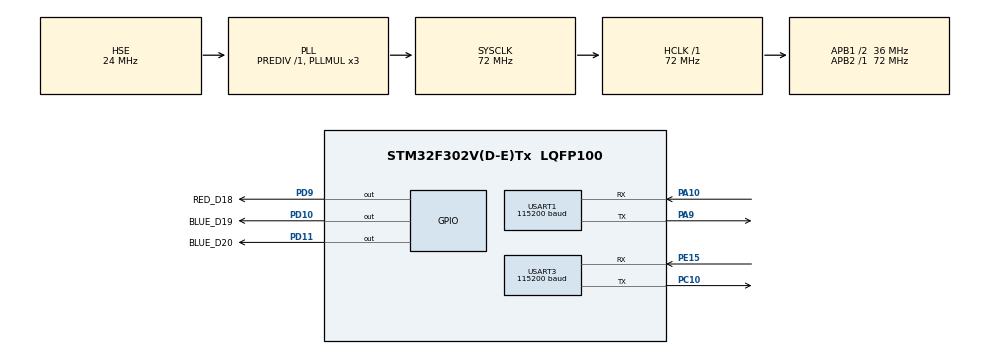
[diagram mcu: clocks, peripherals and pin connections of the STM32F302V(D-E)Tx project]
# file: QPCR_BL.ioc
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Mcu.Family=STM32F3
Mcu.Name=STM32F302V(D-E)Tx
Mcu.Package=LQFP100
NVIC.PriorityGroup=NVIC_PRIORITYGROUP_4
PA10.GPIO_PuPd=GPIO_PULLUP
PA10.Mode=Asynchronous
PA10.Signal=USART1_RX
PA13.Mode=JTAG_5_pins
PA13.Signal=SYS_JTMS-SWDIO
PA14.Mode=JTAG_5_pins
PA14.Signal=SYS_JTCK-SWCLK
PA15.Mode=JTAG_5_pins
PA15.Signal=SYS_JTDI
PA9.GPIO_PuPd=GPIO_PULLUP
PA9.Mode=Asynchronous
PA9.Signal=USART1_TX
PB3.Mode=JTAG_5_pins
PB3.Signal=SYS_JTDO-TRACESWO
PB4.Mode=JTAG_5_pins
PB4.Signal=SYS_NJTRST
PC10.Mode=Asynchronous
PC10.Signal=USART3_TX
PD10.GPIO_Label=BLUE_D19
PD10.GPIO_PuPd=GPIO_PULLUP
PD10.PinState=GPIO_PIN_SET
PD10.Signal=GPIO_Output
PD11.GPIO_Label=BLUE_D20
PD11.GPIO_PuPd=GPIO_PULLUP
PD11.PinState=GPIO_PIN_SET
PD11.Signal=GPIO_Output
PD9.GPIO_Label=RED_D18
PD9.GPIO_PuPd=GPIO_PULLUP
PD9.PinState=GPIO_PIN_SET
PD9.Signal=GPIO_Output
PE15.Mode=Asynchronous
PE15.Signal=USART3_RX
PF0-OSC_IN.Mode=HSE-External-Oscillator
PF0-OSC_IN.Signal=RCC_OSC_IN
PF1-OSC_OUT.Mode=HSE-External-Oscillator
PF1-OSC_OUT.Signal=RCC_OSC_OUT
ProjectManager.HeapSize=0x200
ProjectManager.StackSize=0x400
ProjectManager.TargetToolchain=MDK-ARM V5.32
RCC.AHBFreq_Value=72000000
RCC.APB1CLKDivider=RCC_HCLK_DIV2
RCC.APB1Freq_Value=36000000
RCC.APB1TimFreq_Value=72000000
RCC.APB2Freq_Value=72000000
RCC.APB2TimFreq_Value=72000000
RCC.CortexFreq_Value=72000000
RCC.HCLKFreq_Value=72000000
RCC.HSE_VALUE=24000000
RCC.HSI_VALUE=8000000
RCC.LSE_VALUE=32768
RCC.PLLMUL=RCC_PLL_MUL3
RCC.PLLSourceVirtual=RCC_PLLSOURCE_HSE
RCC.SYSCLKFreq_VALUE=72000000
RCC.SYSCLKSourceVirtual=RCC_SYSCLKSOURCE_PLLCLK
RCC.USBFreq_Value=72000000
USART1.BaudRate=115200
USART1.Parity=PARITY_NONE
USART1.VirtualMode-Asynchronous=VM_ASYNC
USART3.BaudRate=115200
USART3.Mode=MODE_TX
USART3.VirtualMode-Asynchronous=VM_ASYNC
board=custom

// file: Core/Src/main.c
/* USER CODE BEGIN Header */
/**
  ******************************************************************************
  * @file           : main.c
  * @brief          : Main program body
  ******************************************************************************
  * @attention
  *
  * Copyright (c) 2022 STMicroelectronics.
  * All rights reserved.
  *
  * This software is licensed under terms that can be found in the LICENSE file
  * in the root directory of this software component.
  * If no LICENSE file comes with this software, it is provided AS-IS.
  *
  ******************************************************************************
  */
/* USER CODE END Header */
#include "main.h"
#include "usart.h"
#include "gpio.h"

/* USER CODE BEGIN Includes */
#include <stdio.h>

#include "menu.h"
/* USER CODE END Includes */

/* USER CODE BEGIN PV */
UpgradeDef UpgradeInfo;

#if LOG_BY_USART3 == 1
uint8_t logBuf[LOG_BUF_LEN] = {0};
#endif
/* USER CODE END PV */

void SystemClock_Config(void);

int main(void)
{

  /* MCU Configuration--------------------------------------------------------*/

  /* Reset of all peripherals, Initializes the Flash interface and the Systick. */
  HAL_Init();

  /* Configure the system clock */
  SystemClock_Config();

  /* Initialize all configured peripherals */
  MX_GPIO_Init();
  MX_USART1_UART_Init();
  /* USER CODE BEGIN 2 */
#if LOG_BY_USART3 == 1
  MX_USART3_UART_Init();
  LOG("QPCR STM32F302VET6 Bootloader start...\r\n");
#elif LOG_BY_RTT == 1
  SEGGER_RTT_Init();
  LOG("QPCR STM32F302VET6 Bootloader start...\r\n");
#endif

  FLASH_If_Read((uint8_t*)APPJUMPTOIAPFLAG_ADDRESS,(uint8_t*)&UpgradeInfo,sizeof(UpgradeInfo));
  LOG("UpgradeInfo: [%s:0x%x:0x%x:0x%x:0x%x]\r\n", UpgradeInfo.FileName, UpgradeInfo.FileSize, UpgradeInfo.FileVersion, UpgradeInfo.UpdateFlag, UpgradeInfo.UpdateType);

  switch(UpgradeInfo.UpdateType)
  {
	  case MANUAL_UPGRADE:
	  {
          LOG("Upgrade Type: MANUAL_UPGRADE\r\n");
		  FLASH_If_Erase(APPJUMPTOIAPFLAG_ADDRESS,1);
		  /* Execute the IAP driver in order to reprogram the Flash */

		  /* Display main menu */
		  Main_Menu ();
	  }break;
	  case UART_AUTO_UPGRADE:
	  {
          LOG("Upgrade Type: UART_AUTO_UPGRADE\r\n");
		  FLASH_If_Erase(APPJUMPTOIAPFLAG_ADDRESS,1);
		  SerialDownload();
	  }break;
	  case USB_AUTO_UPGRADE:
	  {
          LOG("Upgrade Type: USB_AUTO_UPGRADE\r\n");
		  FLASH_If_Erase(APPJUMPTOIAPFLAG_ADDRESS,1);
	  }break;
	  case ETH_AUTO_UPGRADE:
	  {
          LOG("Upgrade Type: ETH_AUTO_UPGRADE\r\n");
		  FLASH_If_Erase(APPJUMPTOIAPFLAG_ADDRESS,1);
	  }break;
	  case NO_UPGRADE:
	  {
          LOG("Upgrade Type: NO_UPGRADE\r\n");
		  /* Test if user code is programmed starting from address "UPGRAGE_APPLICATION_ADDRESS" */
		  if (((*(__IO uint32_t*)APPLICATION_ADDRESS) & 0x2FFE0000 ) == 0x20000000)
		  {
            LOG("Jump to APP, addr[0x%08x]\r\n", *(__IO uint32_t*)APPLICATION_ADDRESS);
			/* execute the new program */
			JumpAddress = *(__IO uint32_t*) (APPLICATION_ADDRESS + 4);
			/* Jump to user application */
			JumpToApplication = (pFunction) JumpAddress;
			/* Initialize user application's Stack Pointer */
			__set_MSP(*(__IO uint32_t*) APPLICATION_ADDRESS);
			JumpToApplication();
		  }
		  else
		  {
			/* Execute the IAP driver in order to reprogram the Flash */
			LOG("Jump to APP failed. addr[0x%08x]\r\n", *(__IO uint32_t*)APPLICATION_ADDRESS);
			/* Display main menu */
			//Main_Menu ();
		  }
	  }break;
	  default:
	  {
        LOG("Default case...\r\n");
		/* Execute the IAP driver in order to reprogram the Flash */
		//IAP_Init();
		/* Display main menu */
		Main_Menu ();
	  }
  }

  /* USER CODE END 2 */

  /* Infinite loop */
  /* USER CODE BEGIN WHILE */
  while (1)
  {
    HAL_Delay(1000);
    HAL_GPIO_TogglePin(RED_D18_GPIO_Port, RED_D18_Pin);
    //LOG("LED blink...\r\n");
    /* USER CODE END WHILE */
  }
}

void SystemClock_Config(void)
{
  RCC_OscInitTypeDef RCC_OscInitStruct = {0};
  RCC_ClkInitTypeDef RCC_ClkInitStruct = {0};
  RCC_PeriphCLKInitTypeDef PeriphClkInit = {0};

  /** Initializes the RCC Oscillators according to the specified parameters
  * in the RCC_OscInitTypeDef structure.
  */
  RCC_OscInitStruct.OscillatorType = RCC_OSCILLATORTYPE_HSE;
  RCC_OscInitStruct.HSEState = RCC_HSE_ON;
  RCC_OscInitStruct.HSIState = RCC_HSI_ON;
  RCC_OscInitStruct.PLL.PLLState = RCC_PLL_ON;
  RCC_OscInitStruct.PLL.PLLSource = RCC_PLLSOURCE_HSE;
  RCC_OscInitStruct.PLL.PLLMUL = RCC_PLL_MUL3;
  RCC_OscInitStruct.PLL.PREDIV = RCC_PREDIV_DIV1;
  if (HAL_RCC_OscConfig(&RCC_OscInitStruct) != HAL_OK)
  {
    Error_Handler();
  }

  /** Initializes the CPU, AHB and APB buses clocks
  */
  RCC_ClkInitStruct.ClockType = RCC_CLOCKTYPE_HCLK|RCC_CLOCKTYPE_SYSCLK
                              |RCC_CLOCKTYPE_PCLK1|RCC_CLOCKTYPE_PCLK2;
  RCC_ClkInitStruct.SYSCLKSource = RCC_SYSCLKSOURCE_PLLCLK;
  RCC_ClkInitStruct.AHBCLKDivider = RCC_SYSCLK_DIV1;
  RCC_ClkInitStruct.APB1CLKDivider = RCC_HCLK_DIV2;
  RCC_ClkInitStruct.APB2CLKDivider = RCC_HCLK_DIV1;

  if (HAL_RCC_ClockConfig(&RCC_ClkInitStruct, FLASH_LATENCY_2) != HAL_OK)
  {
    Error_Handler();
  }
  PeriphClkInit.PeriphClockSelection = RCC_PERIPHCLK_USART1|RCC_PERIPHCLK_USART3;
  PeriphClkInit.Usart1ClockSelection = RCC_USART1CLKSOURCE_PCLK2;
  PeriphClkInit.Usart3ClockSelection = RCC_USART3CLKSOURCE_PCLK1;
  if (HAL_RCCEx_PeriphCLKConfig(&PeriphClkInit) != HAL_OK)
  {
    Error_Handler();
  }
}

/* USER CODE BEGIN 4 */
int32_t FileNameCmd(uint8_t *LocalFileName, uint8_t *DowmFileName)
{
	uint32_t i = 0;

	if(DowmFileName[0] == '\0')
	{
		return -1;
	}
	do
	{
		if(LocalFileName[i] != DowmFileName[i])
		{
			return i+1;
		}
		i++;
	}
	while(*(LocalFileName + i) != '\0');

	return 0;
}
/* USER CODE END 4 */

void Error_Handler(void)
{
  __disable_irq();
  while (1)
  {
  }
}
